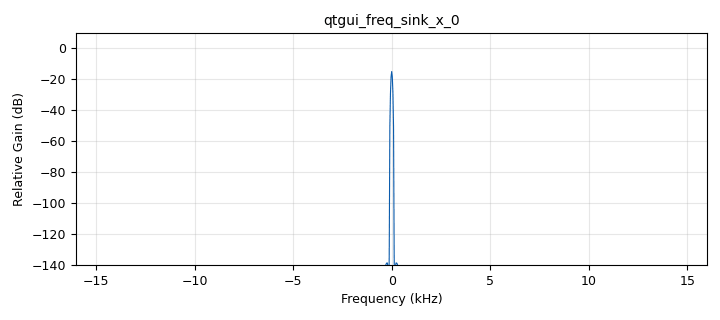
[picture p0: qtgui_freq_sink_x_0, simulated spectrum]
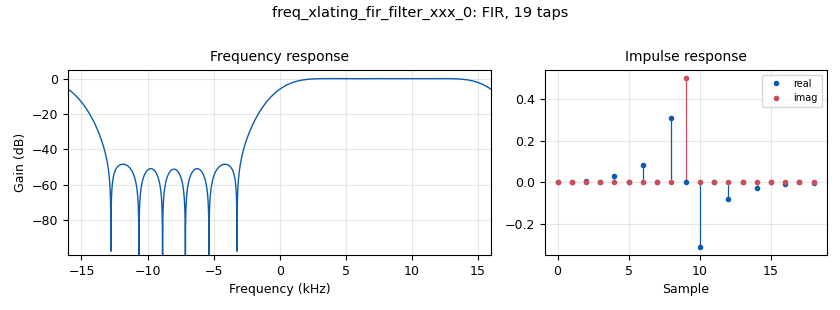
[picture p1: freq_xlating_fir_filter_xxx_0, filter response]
options:
  parameters:
    generate_options: qt_gui
    id: LowPassFilter
    output_language: python
    title: filtering
  states: {}

blocks:
- name: bandPassTaps
  id: variable
  parameters:
    value: lowPassTaps*frequencyShift
  states: {}
- name: boxcarFilter
  id: variable
  parameters:
    value: np.ones(8)/8
  states: {state: disabled}
- name: frequency
  id: variable_qtgui_range
  parameters:
    start: '-samp_rate/2'
    step: '1'
    stop: samp_rate/2
    value: '0'
  states: {}
- name: frequencyShift
  id: variable
  parameters:
    value: np.exp(2j*np.pi*0.25*n)
  states: {}
- name: lowPassTaps
  id: variable_low_pass_filter_taps
  parameters:
    cutoff_freq: samp_rate/4
    gain: '1.0'
    samp_rate: samp_rate
    width: samp_rate/8
    win: window.WIN_HAMMING
  states: {state: disabled}
- name: lowPassTaps
  id: variable_low_pass_filter_taps
  parameters:
    cutoff_freq: samp_rate/4
    gain: '1.0'
    samp_rate: samp_rate
    width: samp_rate/8
    win: window.WIN_HAMMING
  states: {}
- name: n
  id: variable
  parameters:
    value: np.arange(0,len(lowPassTaps))
  states: {}
- name: samp_rate
  id: variable
  parameters:
    value: '32000'
  states: {}
- name: FrequencyShifter_0
  id: FrequencyShifter
  parameters:
    frequency: '0'
    samp_rate: '0'
  states: {state: disabled}
- name: analog_sig_source_x_0
  id: analog_sig_source_x
  parameters:
    amp: '1'
    freq: frequency
    offset: '0'
    phase: '0'
    samp_rate: samp_rate
    type: float
    waveform: analog.GR_COS_WAVE
  states: {}
- name: blocks_throttle_0
  id: blocks_throttle
  parameters:
    samples_per_second: samp_rate
    type: complex
  states: {}
- name: freq_xlating_fir_filter_xxx_0
  id: freq_xlating_fir_filter_xxx
  parameters:
    center_freq: '0'
    decim: '1'
    samp_rate: samp_rate
    taps: bandPassTaps
    type: fcc
  states: {}
- name: import_0
  id: import
  parameters:
    imports: import numpy as np
  states: {}
- name: low_pass_filter_0
  id: low_pass_filter
  parameters:
    cutoff_freq: samp_rate/4
    decim: '1'
    gain: '1'
    samp_rate: samp_rate
    type: fir_filter_ccf
    width: samp_rate/8
    win: window.WIN_HAMMING
  states: {state: disabled}
- name: qtgui_freq_sink_x_0
  id: qtgui_freq_sink_x
  parameters:
    bw: samp_rate
    fc: '0'
    fftsize: '1024'
    type: complex
  states: {}

connections:
- [analog_sig_source_x_0, '0', freq_xlating_fir_filter_xxx_0, '0']
- [analog_sig_source_x_0, '0', low_pass_filter_0, '0']
- [blocks_throttle_0, '0', qtgui_freq_sink_x_0, '0']
- [freq_xlating_fir_filter_xxx_0, '0', blocks_throttle_0, '0']
- [low_pass_filter_0, '0', blocks_throttle_0, '0']

metadata:
  file_format: 1
